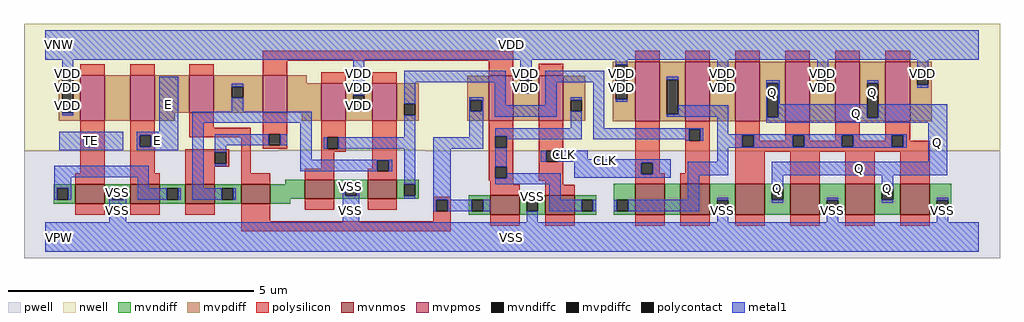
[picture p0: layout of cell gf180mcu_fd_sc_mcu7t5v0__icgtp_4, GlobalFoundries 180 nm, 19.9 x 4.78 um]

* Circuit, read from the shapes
.subckt gf180mcu_fd_sc_mcu7t5v0__icgtp_4 CLK E TE Q VDD VNW VPW VSS
XM1 VSS TE n1 VPW nfet_06v0 w=0.395u l=0.6u
XM2 n1 E VSS VPW nfet_06v0 w=0.395u l=0.6u
XM3 n2 n3 n1 VPW nfet_06v0 w=0.395u l=0.6u
XM4 n4 n5 n2 VPW nfet_06v0 w=0.395u l=0.6u
XM5 VSS n6 n4 VPW nfet_06v0 w=0.395u l=0.6u
XM6 n6 n2 VSS VPW nfet_06v0 w=0.395u l=0.6u
XM7 VSS n3 n5 VPW nfet_06v0 w=0.395u l=0.6u
XM8 n3 CLK VSS VPW nfet_06v0 w=0.395u l=0.6u
XM9 n7 CLK n8 VPW nfet_06v0 w=0.63u l=0.6u
XM10 VSS n6 n7 VPW nfet_06v0 w=0.63u l=0.6u
XM11 Q n8 VSS VPW nfet_06v0 w=0.63u l=0.6u m=4
XM12 n9 TE VDD VNW pfet_06v0 w=0.925u l=0.5u
XM13 n10 E n9 VNW pfet_06v0 w=0.925u l=0.5u
XM14 n2 n5 n10 VNW pfet_06v0 w=0.765u l=0.5u
XM15 n11 n3 n2 VNW pfet_06v0 w=0.765u l=0.5u
XM16 VDD n6 n11 VNW pfet_06v0 w=0.765u l=0.5u
XM17 n6 n2 VDD VNW pfet_06v0 w=0.765u l=0.5u
XM18 VDD n3 n5 VNW pfet_06v0 w=0.92u l=0.5u
XM19 n3 CLK VDD VNW pfet_06v0 w=0.92u l=0.5u
XM20 n8 CLK VDD VNW pfet_06v0 w=1.22u l=0.5u
XM21 VDD n6 n8 VNW pfet_06v0 w=1.22u l=0.5u
XM22 Q n8 VDD VNW pfet_06v0 w=1.22u l=0.5u m=4
.ends

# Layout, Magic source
magic
tech gf180mcuD
magscale 1 10
<< nwell >>
rect -86 355 3894 870
rect -86 352 952 355
rect 1550 352 3894 355
<< pwell >>
rect 952 352 1550 355
rect -86 -86 3894 352
<< mvnmos >>
rect 124 137 244 216
rect 348 137 468 216
rect 572 137 692 216
rect 799 137 919 216
rect 1059 156 1179 235
rect 1315 156 1435 235
rect 1815 91 1935 170
rect 2039 91 2159 170
rect 2407 91 2527 217
rect 2591 91 2711 217
rect 2815 91 2935 217
rect 3039 91 3159 217
rect 3263 91 3383 217
rect 3487 91 3607 217
<< mvpmos >>
rect 144 475 244 660
rect 348 475 448 660
rect 588 507 688 660
rect 887 507 987 660
rect 1127 475 1227 628
rect 1335 475 1435 628
rect 1809 475 1909 659
rect 2014 475 2114 659
rect 2407 472 2507 716
rect 2611 472 2711 716
rect 2815 472 2915 716
rect 3019 472 3119 716
rect 3223 472 3323 716
rect 3427 472 3527 716
<< mvndiff >>
rect 979 216 1059 235
rect 36 199 124 216
rect 36 153 49 199
rect 95 153 124 199
rect 36 137 124 153
rect 244 199 348 216
rect 244 153 273 199
rect 319 153 348 199
rect 244 137 348 153
rect 468 199 572 216
rect 468 153 497 199
rect 543 153 572 199
rect 468 137 572 153
rect 692 199 799 216
rect 692 153 721 199
rect 767 153 799 199
rect 692 137 799 153
rect 919 156 1059 216
rect 1179 215 1315 235
rect 1179 169 1224 215
rect 1270 169 1315 215
rect 1179 156 1315 169
rect 1435 215 1523 235
rect 1435 169 1464 215
rect 1510 169 1523 215
rect 1435 156 1523 169
rect 919 137 999 156
rect 1727 152 1815 170
rect 1727 106 1740 152
rect 1786 106 1815 152
rect 1727 91 1815 106
rect 1935 152 2039 170
rect 1935 106 1964 152
rect 2010 106 2039 152
rect 1935 91 2039 106
rect 2159 152 2247 170
rect 2159 106 2188 152
rect 2234 106 2247 152
rect 2159 91 2247 106
rect 2319 152 2407 217
rect 2319 106 2332 152
rect 2378 106 2407 152
rect 2319 91 2407 106
rect 2527 91 2591 217
rect 2711 150 2815 217
rect 2711 104 2740 150
rect 2786 104 2815 150
rect 2711 91 2815 104
rect 2935 198 3039 217
rect 2935 152 2964 198
rect 3010 152 3039 198
rect 2935 91 3039 152
rect 3159 150 3263 217
rect 3159 104 3188 150
rect 3234 104 3263 150
rect 3159 91 3263 104
rect 3383 198 3487 217
rect 3383 152 3412 198
rect 3458 152 3487 198
rect 3383 91 3487 152
rect 3607 150 3695 217
rect 3607 104 3636 150
rect 3682 104 3695 150
rect 3607 91 3695 104
<< mvpdiff >>
rect 56 647 144 660
rect 56 507 69 647
rect 115 507 144 647
rect 56 475 144 507
rect 244 475 348 660
rect 448 507 588 660
rect 688 614 887 660
rect 688 568 762 614
rect 808 568 887 614
rect 688 507 887 568
rect 987 628 1067 660
rect 2314 703 2407 716
rect 987 507 1127 628
rect 448 475 528 507
rect 1047 475 1127 507
rect 1227 578 1335 628
rect 1227 532 1256 578
rect 1302 532 1335 578
rect 1227 475 1335 532
rect 1435 544 1523 628
rect 1435 498 1464 544
rect 1510 498 1523 544
rect 1435 475 1523 498
rect 1721 559 1809 659
rect 1721 513 1734 559
rect 1780 513 1809 559
rect 1721 475 1809 513
rect 1909 641 2014 659
rect 1909 595 1938 641
rect 1984 595 2014 641
rect 1909 475 2014 595
rect 2114 559 2202 659
rect 2114 513 2143 559
rect 2189 513 2202 559
rect 2114 475 2202 513
rect 2314 563 2327 703
rect 2373 563 2407 703
rect 2314 472 2407 563
rect 2507 642 2611 716
rect 2507 502 2536 642
rect 2582 502 2611 642
rect 2507 472 2611 502
rect 2711 665 2815 716
rect 2711 619 2740 665
rect 2786 619 2815 665
rect 2711 472 2815 619
rect 2915 628 3019 716
rect 2915 488 2944 628
rect 2990 488 3019 628
rect 2915 472 3019 488
rect 3119 667 3223 716
rect 3119 621 3148 667
rect 3194 621 3223 667
rect 3119 472 3223 621
rect 3323 627 3427 716
rect 3323 487 3352 627
rect 3398 487 3427 627
rect 3323 472 3427 487
rect 3527 667 3615 716
rect 3527 621 3556 667
rect 3602 621 3615 667
rect 3527 472 3615 621
<< mvndiffc >>
rect 49 153 95 199
rect 273 153 319 199
rect 497 153 543 199
rect 721 153 767 199
rect 1224 169 1270 215
rect 1464 169 1510 215
rect 1740 106 1786 152
rect 1964 106 2010 152
rect 2188 106 2234 152
rect 2332 106 2378 152
rect 2740 104 2786 150
rect 2964 152 3010 198
rect 3188 104 3234 150
rect 3412 152 3458 198
rect 3636 104 3682 150
<< mvpdiffc >>
rect 69 507 115 647
rect 762 568 808 614
rect 1256 532 1302 578
rect 1464 498 1510 544
rect 1734 513 1780 559
rect 1938 595 1984 641
rect 2143 513 2189 559
rect 2327 563 2373 703
rect 2536 502 2582 642
rect 2740 619 2786 665
rect 2944 488 2990 628
rect 3148 621 3194 667
rect 3352 487 3398 627
rect 3556 621 3602 667
<< polysilicon >>
rect 887 720 1909 760
rect 144 660 244 704
rect 348 660 448 704
rect 588 660 688 704
rect 887 660 987 720
rect 1127 628 1227 672
rect 1335 628 1435 672
rect 1809 659 1909 720
rect 2407 716 2507 760
rect 2611 716 2711 760
rect 2815 716 2915 760
rect 3019 716 3119 760
rect 3223 716 3323 760
rect 3427 716 3527 760
rect 2014 659 2114 706
rect 144 415 244 475
rect 144 369 159 415
rect 205 369 244 415
rect 144 260 244 369
rect 124 216 244 260
rect 348 415 448 475
rect 348 369 385 415
rect 431 369 448 415
rect 588 447 688 507
rect 588 407 839 447
rect 348 260 448 369
rect 572 346 751 359
rect 572 300 692 346
rect 738 300 751 346
rect 572 287 751 300
rect 348 216 468 260
rect 572 216 692 287
rect 799 260 839 407
rect 887 420 987 507
rect 887 374 913 420
rect 959 374 987 420
rect 887 361 987 374
rect 1127 407 1227 475
rect 1127 361 1150 407
rect 1196 361 1227 407
rect 1127 348 1227 361
rect 1127 279 1179 348
rect 1335 314 1435 475
rect 1335 279 1355 314
rect 799 216 919 260
rect 1059 235 1179 279
rect 1315 268 1355 279
rect 1401 268 1435 314
rect 1315 235 1435 268
rect 1809 411 1909 475
rect 1809 365 1836 411
rect 1882 365 1909 411
rect 1809 286 1909 365
rect 1809 240 1836 286
rect 1882 240 1909 286
rect 1809 230 1909 240
rect 2014 353 2114 475
rect 2014 307 2044 353
rect 2090 307 2114 353
rect 2014 230 2114 307
rect 1815 214 1909 230
rect 2039 214 2114 230
rect 2407 303 2507 472
rect 2407 257 2431 303
rect 2477 261 2507 303
rect 2611 439 2711 472
rect 2611 393 2626 439
rect 2672 393 2711 439
rect 2611 261 2711 393
rect 2477 257 2527 261
rect 2407 217 2527 257
rect 2591 217 2711 261
rect 2815 415 2915 472
rect 2815 369 2843 415
rect 2889 394 2915 415
rect 3019 415 3119 472
rect 3019 394 3049 415
rect 2889 369 3049 394
rect 3095 394 3119 415
rect 3223 415 3323 472
rect 3223 394 3249 415
rect 3095 369 3249 394
rect 3295 394 3323 415
rect 3427 415 3527 472
rect 3427 394 3453 415
rect 3295 369 3453 394
rect 3499 394 3527 415
rect 3499 369 3607 394
rect 2815 348 3607 369
rect 2815 217 2935 348
rect 3039 217 3159 348
rect 3263 217 3383 348
rect 3487 217 3607 348
rect 1815 170 1935 214
rect 2039 170 2159 214
rect 124 92 244 137
rect 348 92 468 137
rect 572 92 692 137
rect 799 64 919 137
rect 1059 112 1179 156
rect 1315 112 1435 156
rect 1583 152 1655 165
rect 1583 106 1596 152
rect 1642 106 1655 152
rect 1583 64 1655 106
rect 799 24 1655 64
rect 1815 46 1935 91
rect 2039 46 2159 91
rect 2407 47 2527 91
rect 2591 47 2711 91
rect 2815 47 2935 91
rect 3039 47 3159 91
rect 3263 47 3383 91
rect 3487 47 3607 91
<< polycontact >>
rect 159 369 205 415
rect 385 369 431 415
rect 692 300 738 346
rect 913 374 959 420
rect 1150 361 1196 407
rect 1355 268 1401 314
rect 1836 365 1882 411
rect 1836 240 1882 286
rect 2044 307 2090 353
rect 2431 257 2477 303
rect 2626 393 2672 439
rect 2843 369 2889 415
rect 3049 369 3095 415
rect 3249 369 3295 415
rect 3453 369 3499 415
rect 1596 106 1642 152
<< metal1 >>
rect 0 724 3808 844
rect 69 647 115 724
rect 69 496 115 507
rect 466 430 542 654
rect 762 614 808 625
rect 762 512 808 568
rect 1256 578 1302 724
rect 1256 521 1302 532
rect 1464 632 1879 678
rect 1464 544 1510 632
rect 58 415 318 430
rect 58 369 159 415
rect 205 369 318 415
rect 58 354 318 369
rect 373 415 542 430
rect 373 369 385 415
rect 431 369 542 415
rect 373 354 542 369
rect 600 466 1087 512
rect 38 245 423 292
rect 38 199 106 245
rect 377 199 423 245
rect 600 199 646 466
rect 692 374 913 420
rect 959 374 987 420
rect 692 346 738 374
rect 692 289 738 300
rect 1041 315 1087 466
rect 1464 407 1510 498
rect 1729 559 1786 570
rect 1729 513 1734 559
rect 1780 513 1786 559
rect 1729 407 1786 513
rect 1833 538 1879 632
rect 1938 641 1984 724
rect 2327 703 2373 724
rect 1938 584 1984 595
rect 2040 632 2281 678
rect 2040 538 2086 632
rect 1833 491 2086 538
rect 2143 559 2189 570
rect 2143 445 2189 513
rect 1137 361 1150 407
rect 1196 361 1510 407
rect 1041 314 1416 315
rect 1041 268 1355 314
rect 1401 268 1416 314
rect 1464 215 1510 361
rect 38 153 49 199
rect 95 153 106 199
rect 262 153 273 199
rect 319 153 330 199
rect 377 153 497 199
rect 543 153 554 199
rect 600 153 721 199
rect 767 153 778 199
rect 1213 169 1224 215
rect 1270 169 1281 215
rect 262 60 330 153
rect 1213 60 1281 169
rect 1464 156 1510 169
rect 1583 361 1786 407
rect 1835 411 2189 445
rect 1835 365 1836 411
rect 1882 399 2189 411
rect 2235 445 2281 632
rect 2740 665 2786 724
rect 2327 552 2373 563
rect 2536 642 2582 653
rect 3148 667 3194 724
rect 2740 608 2786 619
rect 2940 628 2995 639
rect 2582 502 2786 537
rect 2536 491 2786 502
rect 2235 439 2683 445
rect 2235 399 2626 439
rect 1882 365 1883 399
rect 2615 393 2626 399
rect 2672 393 2683 439
rect 2740 419 2786 491
rect 2940 488 2944 628
rect 2990 542 2995 628
rect 3556 667 3602 724
rect 3148 608 3194 621
rect 3352 627 3398 639
rect 2990 488 3352 542
rect 2940 487 3352 488
rect 3556 609 3602 621
rect 3398 487 3678 542
rect 2940 466 3678 487
rect 2740 415 3514 419
rect 1583 152 1655 361
rect 1835 286 1883 365
rect 2740 369 2843 415
rect 2889 369 3049 415
rect 3095 369 3249 415
rect 3295 369 3453 415
rect 3499 369 3514 415
rect 2740 365 3514 369
rect 2021 307 2044 353
rect 2090 318 2213 353
rect 2090 307 2551 318
rect 2740 307 2786 365
rect 3602 307 3678 466
rect 1835 240 1836 286
rect 1882 261 1883 286
rect 2157 303 2551 307
rect 1882 240 2102 261
rect 2157 257 2431 303
rect 2477 257 2551 303
rect 2157 242 2551 257
rect 2621 253 2786 307
rect 2964 253 3678 307
rect 1835 215 2102 240
rect 1964 152 2010 169
rect 1583 106 1596 152
rect 1642 106 1740 152
rect 1786 106 1815 152
rect 2056 152 2102 215
rect 2621 152 2667 253
rect 2964 198 3010 253
rect 2056 106 2188 152
rect 2234 106 2247 152
rect 2319 106 2332 152
rect 2378 106 2667 152
rect 2740 150 2786 161
rect 1964 60 2010 106
rect 3412 198 3458 253
rect 2964 141 3010 152
rect 3188 150 3234 161
rect 2740 60 2786 104
rect 3412 141 3458 152
rect 3636 150 3682 161
rect 3188 60 3234 104
rect 3636 60 3682 104
rect 0 -60 3808 60
<< labels >>
flabel metal1 s 3352 542 3398 639 0 FreeSans 400 0 0 0 Q
port 4 nsew default output
flabel metal1 s 58 354 318 430 0 FreeSans 400 0 0 0 TE
port 3 nsew default input
flabel metal1 s 0 724 3808 844 0 FreeSans 400 0 0 0 VDD
port 5 nsew power bidirectional abutment
flabel metal1 s 1213 199 1281 215 0 FreeSans 400 0 0 0 VSS
port 8 nsew ground bidirectional abutment
flabel metal1 s 2021 318 2213 353 0 FreeSans 400 0 0 0 CLK
port 1 nsew clock input
flabel metal1 s 466 430 542 654 0 FreeSans 400 0 0 0 E
port 2 nsew default input
flabel nwell s 10 734 110 834 0 FreeSans 400 0 0 0 VNW
port 6 nsew power bidirectional
flabel pwell s 10 -50 110 50 0 FreeSans 400 0 0 0 VPW
port 7 nsew ground bidirectional
rlabel metal1 s 2021 307 2551 318 1 CLK
port 1 nsew clock input
rlabel metal1 s 2157 242 2551 307 1 CLK
port 1 nsew clock input
rlabel metal1 s 373 354 542 430 1 E
port 2 nsew default input
rlabel metal1 s 2940 542 2995 639 1 Q
port 4 nsew default output
rlabel metal1 s 2940 466 3678 542 1 Q
port 4 nsew default output
rlabel metal1 s 3602 307 3678 466 1 Q
port 4 nsew default output
rlabel metal1 s 2964 253 3678 307 1 Q
port 4 nsew default output
rlabel metal1 s 3412 141 3458 253 1 Q
port 4 nsew default output
rlabel metal1 s 2964 141 3010 253 1 Q
port 4 nsew default output
rlabel metal1 s 3556 609 3602 724 1 VDD
port 5 nsew power bidirectional abutment
rlabel metal1 s 3148 609 3194 724 1 VDD
port 5 nsew power bidirectional abutment
rlabel metal1 s 2740 609 2786 724 1 VDD
port 5 nsew power bidirectional abutment
rlabel metal1 s 2327 609 2373 724 1 VDD
port 5 nsew power bidirectional abutment
rlabel metal1 s 1938 609 1984 724 1 VDD
port 5 nsew power bidirectional abutment
rlabel metal1 s 1256 609 1302 724 1 VDD
port 5 nsew power bidirectional abutment
rlabel metal1 s 69 609 115 724 1 VDD
port 5 nsew power bidirectional abutment
rlabel metal1 s 3148 608 3194 609 1 VDD
port 5 nsew power bidirectional abutment
rlabel metal1 s 2740 608 2786 609 1 VDD
port 5 nsew power bidirectional abutment
rlabel metal1 s 2327 608 2373 609 1 VDD
port 5 nsew power bidirectional abutment
rlabel metal1 s 1938 608 1984 609 1 VDD
port 5 nsew power bidirectional abutment
rlabel metal1 s 1256 608 1302 609 1 VDD
port 5 nsew power bidirectional abutment
rlabel metal1 s 69 608 115 609 1 VDD
port 5 nsew power bidirectional abutment
rlabel metal1 s 2327 584 2373 608 1 VDD
port 5 nsew power bidirectional abutment
rlabel metal1 s 1938 584 1984 608 1 VDD
port 5 nsew power bidirectional abutment
rlabel metal1 s 1256 584 1302 608 1 VDD
port 5 nsew power bidirectional abutment
rlabel metal1 s 69 584 115 608 1 VDD
port 5 nsew power bidirectional abutment
rlabel metal1 s 2327 552 2373 584 1 VDD
port 5 nsew power bidirectional abutment
rlabel metal1 s 1256 552 1302 584 1 VDD
port 5 nsew power bidirectional abutment
rlabel metal1 s 69 552 115 584 1 VDD
port 5 nsew power bidirectional abutment
rlabel metal1 s 1256 521 1302 552 1 VDD
port 5 nsew power bidirectional abutment
rlabel metal1 s 69 521 115 552 1 VDD
port 5 nsew power bidirectional abutment
rlabel metal1 s 69 496 115 521 1 VDD
port 5 nsew power bidirectional abutment
rlabel metal1 s 1213 169 1281 199 1 VSS
port 8 nsew ground bidirectional abutment
rlabel metal1 s 262 169 330 199 1 VSS
port 8 nsew ground bidirectional abutment
rlabel metal1 s 1964 161 2010 169 1 VSS
port 8 nsew ground bidirectional abutment
rlabel metal1 s 1213 161 1281 169 1 VSS
port 8 nsew ground bidirectional abutment
rlabel metal1 s 262 161 330 169 1 VSS
port 8 nsew ground bidirectional abutment
rlabel metal1 s 3636 60 3682 161 1 VSS
port 8 nsew ground bidirectional abutment
rlabel metal1 s 3188 60 3234 161 1 VSS
port 8 nsew ground bidirectional abutment
rlabel metal1 s 2740 60 2786 161 1 VSS
port 8 nsew ground bidirectional abutment
rlabel metal1 s 1964 60 2010 161 1 VSS
port 8 nsew ground bidirectional abutment
rlabel metal1 s 1213 60 1281 161 1 VSS
port 8 nsew ground bidirectional abutment
rlabel metal1 s 262 60 330 161 1 VSS
port 8 nsew ground bidirectional abutment
rlabel metal1 s 0 -60 3808 60 1 VSS
port 8 nsew ground bidirectional abutment
<< properties >>
string FIXED_BBOX 0 0 3808 784
string GDS_END 474074
string GDS_FILE $PDKPATH/libs.ref/gf180mcu_fd_sc_mcu7t5v0/gds/gf180mcu_fd_sc_mcu7t5v0.gds
string GDS_START 465800
string LEFclass core
string LEFsite GF018hv5v_mcu_sc7
string LEFsymmetry X Y
<< end >>
